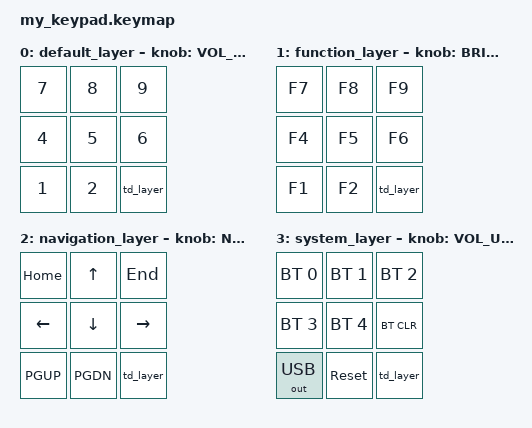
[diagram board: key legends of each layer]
/*
 * Copyright (c) 2022 The ZMK Contributors
 *
 * SPDX-License-Identifier: MIT
 */
#include <behaviors.dtsi>
#include <dt-bindings/zmk/keys.h>
#include <dt-bindings/zmk/bt.h>
#include <dt-bindings/zmk/outputs.h>

/ {
    behaviors {
        td_layer: tap_dance_layer {
            compatible = "zmk,behavior-tap-dance";
            label = "LAYER_CYCLE";
            #binding-cells = <0>;
            tapping-term-ms = <200>;
            bindings = <&to 0>, <&to 1>, <&to 2>, <&to 3>;
        };
    };

    sensors {
        compatible = "zmk,keymap-sensors";
        sensors = <&encoder>;
        triggers-per-rotation = <20>;
    };

    keymap {
        compatible = "zmk,keymap";

        default_layer {
            bindings = <
                &kp N7  &kp N8  &kp N9
                &kp N4  &kp N5  &kp N6
                &kp N1  &kp N2  &td_layer
            >;
            sensor-bindings = <&inc_dec_kp C_VOL_UP C_VOL_DN>;
        };

        function_layer {
            bindings = <
                &kp F7  &kp F8  &kp F9
                &kp F4  &kp F5  &kp F6
                &kp F1  &kp F2  &td_layer
            >;
            sensor-bindings = <&inc_dec_kp C_BRI_UP C_BRI_DN>;
        };

        navigation_layer {
            bindings = <
                &kp HOME  &kp UP    &kp END
                &kp LEFT  &kp DOWN  &kp RIGHT
                &kp PGUP  &kp PGDN  &td_layer
            >;
            sensor-bindings = <&inc_dec_kp C_NEXT C_PREV>;
        };

        system_layer {
            bindings = <
                &bt BT_SEL 0  &bt BT_SEL 1  &bt BT_SEL 2
                &bt BT_SEL 3  &bt BT_SEL 4  &bt BT_CLR
                &out OUT_USB  &sys_reset     &td_layer
            >;
            sensor-bindings = <&inc_dec_kp C_VOL_UP C_VOL_DN>;
        };
    };
};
